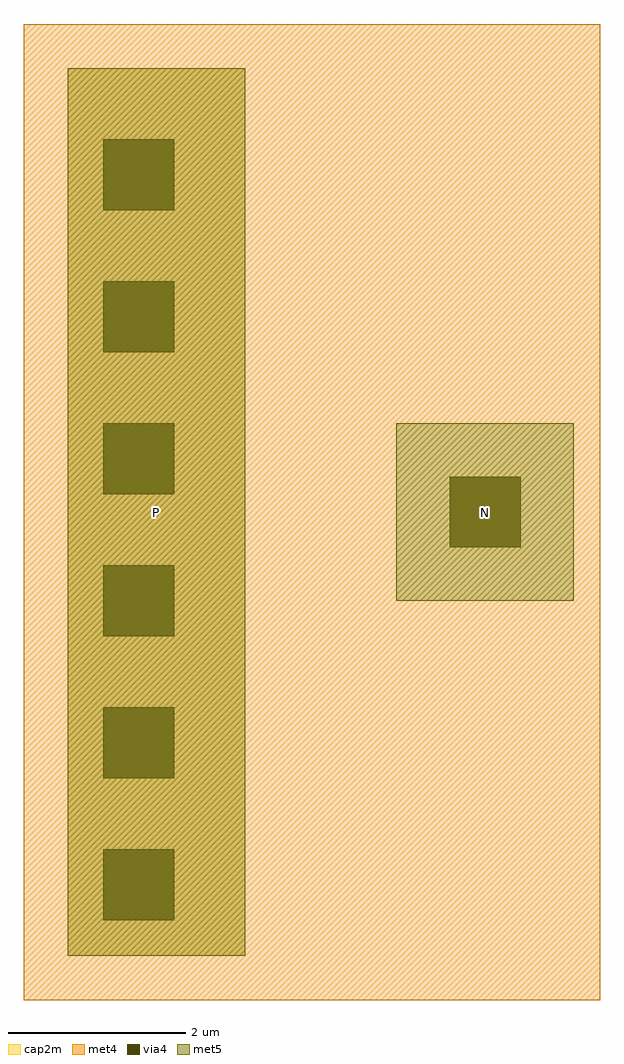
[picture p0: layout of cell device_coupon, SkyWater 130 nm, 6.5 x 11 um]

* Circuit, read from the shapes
.subckt device_coupon N P
XC1 P N sky130_fd_pr__cap_mim_m3_2 w=2 l=10
.ends

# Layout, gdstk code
import gdstk
lib = gdstk.Library(unit=1e-6, precision=1e-09)
def R(c, l, rs):  # rectangles x0, y0, x1, y1
    for r in rs: c.add(gdstk.rectangle(r[:2], r[2:], *l))
def A(c, l, x, y, w, h, nx, ny, dx, dy):  # array of equal rectangles
    R(c, l, [(x+i*dx, y+j*dy, x+i*dx+w, y+j*dy+h) for i in range(nx) for j in range(ny)])
met4 = (71, 20)
via4 = (71, 44)
met5 = (72, 20)
cap2m = (97, 44)

device_coupon = lib.new_cell('device_coupon')
R(device_coupon, met4, [(-0.5,-0.5,6,10.5)])
A(device_coupon, via4, 0.4, 0.4, 0.8, 0.8, 1, 6, 0, 1.6)
R(device_coupon, via4, [(4.3,4.6,5.1,5.4)])
R(device_coupon, met5, [(0,0,2,10), (3.7,4,5.7,6)])
R(device_coupon, cap2m, [(0,0,2,10)])
device_coupon.add(gdstk.Label('N', (4.7,5), layer=72, texttype=5))
device_coupon.add(gdstk.Label('P', (1,5), layer=72, texttype=5))

lib.write_gds('device_coupon.gds')
